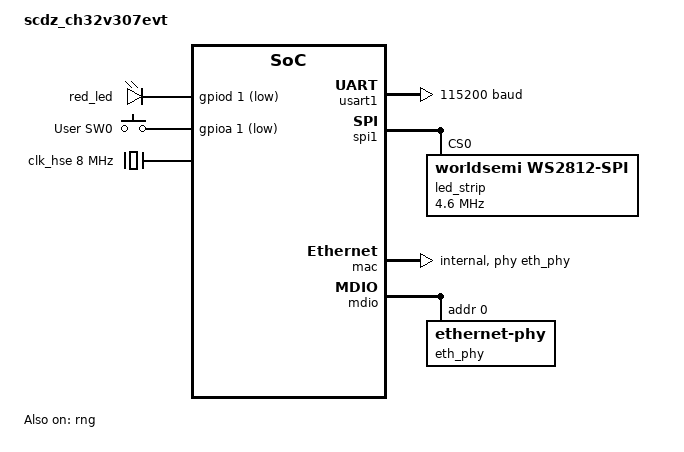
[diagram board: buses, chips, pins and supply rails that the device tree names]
/*
 * Copyright (c) 2025 Thomas Boje
 * SPDX-License-Identifier: Apache-2.0
 */

/dts-v1/;

#include <wch/ch32v307/ch32v307vc.dtsi>
#include <zephyr/dt-bindings/gpio/gpio.h>
#include <zephyr/dt-bindings/input/input-event-codes.h>
#include <zephyr/dt-bindings/led/led.h>
#include "ch32v307evt-pinctrl.dtsi"

/ {
	model = "scdz_ch32v307evt";
	compatible = "scdz,ch32v307";

	chosen {
		zephyr,sram = &sram0;
		zephyr,flash = &flash0;
		zephyr,console = &usart1;
		zephyr,shell-uart = &usart1;
	};

	leds {
		compatible = "gpio-leds";

		/*
		 * Please connect the unconnected LED1 on the SCDZ CH32V307EVT
		 * board to a suitable GPIO pin (like PD1) and then change
		 * this status to "okay".
		 */
		status = "okay";

		red_led: led0 {
			gpios = <&gpiod 1 GPIO_ACTIVE_LOW>;
		};
	};

	buttons {
		compatible = "gpio-keys";

		user_button0: sw0 {
			label = "User SW0";
			gpios = <&gpioa 1 (GPIO_ACTIVE_LOW | GPIO_PULL_UP)>;
			zephyr,code = <INPUT_KEY_0>;
		};
	};

	aliases {
		led0 = &red_led;
		sw0 = &user_button0;
	};
};

&clk_hse {
	clock-frequency = <DT_FREQ_M(8)>;
	status = "okay";
};

&pll {
	clocks = <&clk_hse>;
	status = "okay";
};

&rcc {
	clocks = <&pll>;
};


&gpioa {
	status = "okay";
};

&gpioc {
	status = "okay";
};

&usart1 {
	status = "okay";
	current-speed = <115200>;
	pinctrl-0 = <&usart1_default>;
	pinctrl-names = "default";
};

&spi1 {
	status = "okay";
	pinctrl-0 = <&spi1_default>;
	pinctrl-names = "default";

	led_strip: ws2812@0 {
		compatible = "worldsemi,ws2812-spi";
		status = "okay";
		reg = <0>;
		spi-cpha;
		spi-one-frame = <0xf0>;  /* 1100ns HIGH */
		spi-zero-frame = <0x80>; /* 460ns HIGH */
		spi-max-frequency = <4600000>;
		chain-length = <1>;
		color-mapping = <LED_COLOR_ID_GREEN LED_COLOR_ID_RED LED_COLOR_ID_BLUE>;
	};
};

&rng {
	status = "okay";
};

&mac {
	status = "okay";
	pinctrl-0 = <&mac_default>;
	pinctrl-names = "default";
	phy-connection-type = "internal";
	phy-handle = <&eth_phy>;
};

&mdio {
	status = "okay";
	pinctrl-0 = <&mdio_default>;
	pinctrl-names = "default";

	eth_phy: ethernet-phy@0 {
		compatible = "ethernet-phy";
		reg = <0x00>;
	};
};
